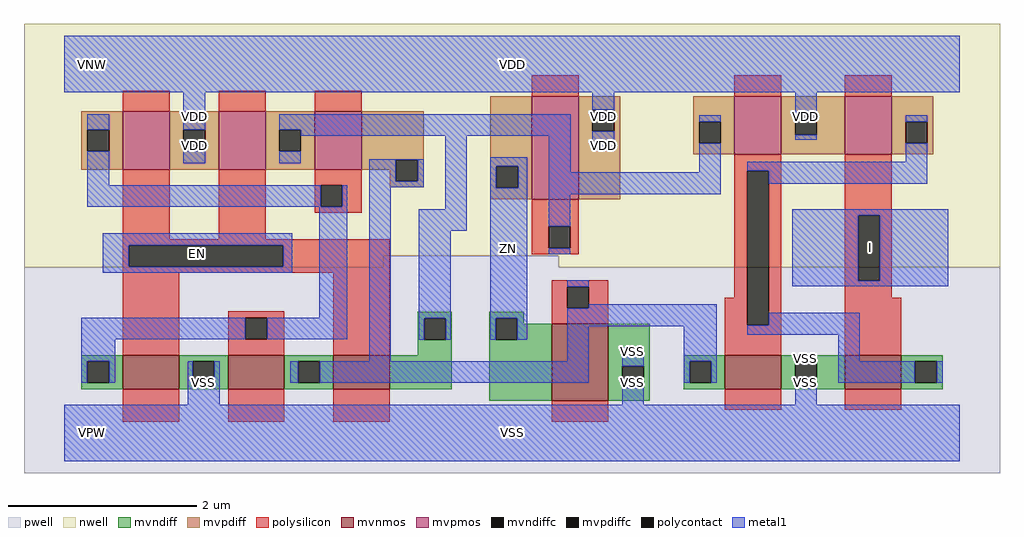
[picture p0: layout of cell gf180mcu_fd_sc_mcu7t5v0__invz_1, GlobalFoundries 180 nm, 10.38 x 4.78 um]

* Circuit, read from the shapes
.subckt gf180mcu_fd_sc_mcu7t5v0__invz_1 EN I ZN VDD VNW VPW VSS
XM1 VSS EN n1 VPW nfet_06v0 w=0.36u l=0.6u
XM2 n2 n1 VSS VPW nfet_06v0 w=0.36u l=0.6u
XM3 n3 EN n2 VPW nfet_06v0 w=0.36u l=0.6u
XM4 VSS n2 ZN VPW nfet_06v0 w=0.82u l=0.6u
XM5 VSS n4 n2 VPW nfet_06v0 w=0.36u l=0.6u
XM6 n4 I VSS VPW nfet_06v0 w=0.36u l=0.6u
XM7 VDD EN n1 VNW pfet_06v0 w=0.62u l=0.5u
XM8 n3 EN VDD VNW pfet_06v0 w=0.62u l=0.5u
XM9 n2 n1 n3 VNW pfet_06v0 w=0.62u l=0.5u
XM10 VDD n3 ZN VNW pfet_06v0 w=1.095u l=0.5u
XM11 VDD n4 n3 VNW pfet_06v0 w=0.62u l=0.5u
XM12 n4 I VDD VNW pfet_06v0 w=0.62u l=0.5u
.ends

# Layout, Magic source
magic
tech gf180mcuD
magscale 1 10
<< nwell >>
rect -86 377 1990 870
rect -86 352 678 377
rect 1051 352 1990 377
<< pwell >>
rect 678 352 1051 377
rect -86 -86 1990 352
<< mvnmos >>
rect 124 93 244 165
rect 348 93 468 165
rect 572 93 692 165
rect 1037 68 1157 232
rect 1405 93 1525 165
rect 1660 93 1780 165
<< mvpmos >>
rect 124 560 224 684
rect 328 560 428 684
rect 532 560 632 684
rect 994 497 1094 716
rect 1425 592 1525 716
rect 1660 592 1760 716
<< mvndiff >>
rect 752 244 824 257
rect 752 198 765 244
rect 811 198 824 244
rect 752 165 824 198
rect 36 152 124 165
rect 36 106 49 152
rect 95 106 124 152
rect 36 93 124 106
rect 244 152 348 165
rect 244 106 273 152
rect 319 106 348 152
rect 244 93 348 106
rect 468 152 572 165
rect 468 106 497 152
rect 543 106 572 152
rect 468 93 572 106
rect 692 93 824 165
rect 904 244 977 257
rect 904 198 917 244
rect 963 232 977 244
rect 963 198 1037 232
rect 904 68 1037 198
rect 1157 142 1245 232
rect 1157 96 1186 142
rect 1232 96 1245 142
rect 1157 68 1245 96
rect 1317 152 1405 165
rect 1317 106 1330 152
rect 1376 106 1405 152
rect 1317 93 1405 106
rect 1525 152 1660 165
rect 1525 106 1554 152
rect 1600 106 1660 152
rect 1525 93 1660 106
rect 1780 152 1868 165
rect 1780 106 1809 152
rect 1855 106 1868 152
rect 1780 93 1868 106
<< mvpdiff >>
rect 36 645 124 684
rect 36 599 49 645
rect 95 599 124 645
rect 36 560 124 599
rect 224 645 328 684
rect 224 599 253 645
rect 299 599 328 645
rect 224 560 328 599
rect 428 645 532 684
rect 428 599 457 645
rect 503 599 532 645
rect 428 560 532 599
rect 632 581 764 684
rect 632 560 705 581
rect 692 535 705 560
rect 751 535 764 581
rect 692 522 764 535
rect 906 567 994 716
rect 906 521 919 567
rect 965 521 994 567
rect 906 497 994 521
rect 1094 687 1182 716
rect 1094 641 1123 687
rect 1169 641 1182 687
rect 1094 497 1182 641
rect 1337 662 1425 716
rect 1337 616 1350 662
rect 1396 616 1425 662
rect 1337 592 1425 616
rect 1525 680 1660 716
rect 1525 634 1554 680
rect 1600 634 1660 680
rect 1525 592 1660 634
rect 1760 662 1848 716
rect 1760 616 1789 662
rect 1835 616 1848 662
rect 1760 592 1848 616
<< mvndiffc >>
rect 765 198 811 244
rect 49 106 95 152
rect 273 106 319 152
rect 497 106 543 152
rect 917 198 963 244
rect 1186 96 1232 142
rect 1330 106 1376 152
rect 1554 106 1600 152
rect 1809 106 1855 152
<< mvpdiffc >>
rect 49 599 95 645
rect 253 599 299 645
rect 457 599 503 645
rect 705 535 751 581
rect 919 521 965 567
rect 1123 641 1169 687
rect 1350 616 1396 662
rect 1554 634 1600 680
rect 1789 616 1835 662
<< polysilicon >>
rect 124 684 224 728
rect 328 684 428 728
rect 532 684 632 728
rect 994 716 1094 760
rect 1425 716 1525 760
rect 1660 716 1760 760
rect 124 412 224 560
rect 328 412 428 560
rect 532 527 632 560
rect 532 481 545 527
rect 591 481 632 527
rect 1425 557 1525 592
rect 532 468 632 481
rect 994 439 1094 497
rect 124 399 692 412
rect 124 353 137 399
rect 465 353 692 399
rect 994 393 1030 439
rect 1076 393 1094 439
rect 994 380 1094 393
rect 124 340 692 353
rect 124 165 244 340
rect 348 245 468 258
rect 348 199 385 245
rect 431 199 468 245
rect 348 165 468 199
rect 572 165 692 340
rect 1037 311 1157 324
rect 1037 265 1069 311
rect 1115 265 1157 311
rect 1425 287 1452 557
rect 1037 232 1157 265
rect 124 24 244 93
rect 348 24 468 93
rect 572 24 692 93
rect 1405 229 1452 287
rect 1498 229 1525 557
rect 1405 165 1525 229
rect 1660 463 1760 592
rect 1660 323 1688 463
rect 1734 323 1760 463
rect 1660 287 1760 323
rect 1660 165 1780 287
rect 1037 24 1157 68
rect 1405 49 1525 93
rect 1660 49 1780 93
<< polycontact >>
rect 545 481 591 527
rect 137 353 465 399
rect 1030 393 1076 439
rect 385 199 431 245
rect 1069 265 1115 311
rect 1452 229 1498 557
rect 1688 323 1734 463
<< metal1 >>
rect 0 724 1904 844
rect 49 645 95 678
rect 49 527 95 599
rect 253 645 299 724
rect 1123 687 1169 724
rect 253 573 299 599
rect 457 645 1077 678
rect 503 632 1077 645
rect 457 573 503 599
rect 648 581 764 582
rect 648 535 705 581
rect 751 535 764 581
rect 49 481 545 527
rect 591 481 602 527
rect 82 399 485 424
rect 82 353 137 399
rect 465 353 485 399
rect 82 340 485 353
rect 542 245 602 481
rect 36 199 385 245
rect 431 199 602 245
rect 648 522 764 535
rect 36 152 108 199
rect 648 152 694 522
rect 810 476 856 632
rect 754 430 856 476
rect 906 567 984 586
rect 906 521 919 567
rect 965 521 984 567
rect 754 244 822 430
rect 754 198 765 244
rect 811 198 822 244
rect 906 244 984 521
rect 1030 554 1077 632
rect 1554 680 1600 724
rect 1123 600 1169 641
rect 1350 662 1396 675
rect 1554 623 1600 634
rect 1789 662 1835 675
rect 1350 554 1396 616
rect 1789 577 1835 616
rect 1030 507 1396 554
rect 1452 557 1835 577
rect 1030 439 1076 507
rect 1030 380 1076 393
rect 906 198 917 244
rect 963 198 984 244
rect 1069 311 1115 324
rect 1115 265 1387 273
rect 1069 227 1387 265
rect 1069 152 1115 227
rect 36 106 49 152
rect 95 106 108 152
rect 262 106 273 152
rect 319 106 330 152
rect 480 106 497 152
rect 543 106 1115 152
rect 1186 142 1232 181
rect 262 60 330 106
rect 1317 152 1387 227
rect 1498 530 1835 557
rect 1548 463 1880 475
rect 1548 323 1688 463
rect 1734 323 1880 463
rect 1548 312 1880 323
rect 1498 229 1692 255
rect 1452 209 1692 229
rect 1317 106 1330 152
rect 1376 106 1387 152
rect 1554 152 1600 163
rect 1646 152 1692 209
rect 1646 106 1809 152
rect 1855 106 1868 152
rect 1186 60 1232 96
rect 1554 60 1600 106
rect 0 -60 1904 60
<< labels >>
flabel metal1 s 0 724 1904 844 0 FreeSans 400 0 0 0 VDD
port 4 nsew power bidirectional abutment
flabel metal1 s 1186 163 1232 181 0 FreeSans 400 0 0 0 VSS
port 7 nsew ground bidirectional abutment
flabel metal1 s 906 198 984 586 0 FreeSans 400 0 0 0 ZN
port 3 nsew default output
flabel metal1 s 82 340 485 424 0 FreeSans 400 0 0 0 EN
port 1 nsew default input
flabel metal1 s 1548 312 1880 475 0 FreeSans 400 0 0 0 I
port 2 nsew default input
flabel nwell s 10 734 110 834 0 FreeSans 400 0 0 0 VNW
port 5 nsew power bidirectional
flabel pwell s 10 -50 110 50 0 FreeSans 400 0 0 0 VPW
port 6 nsew ground bidirectional
rlabel metal1 s 1554 623 1600 724 1 VDD
port 4 nsew power bidirectional abutment
rlabel metal1 s 1123 623 1169 724 1 VDD
port 4 nsew power bidirectional abutment
rlabel metal1 s 253 623 299 724 1 VDD
port 4 nsew power bidirectional abutment
rlabel metal1 s 1123 600 1169 623 1 VDD
port 4 nsew power bidirectional abutment
rlabel metal1 s 253 600 299 623 1 VDD
port 4 nsew power bidirectional abutment
rlabel metal1 s 253 573 299 600 1 VDD
port 4 nsew power bidirectional abutment
rlabel metal1 s 1554 152 1600 163 1 VSS
port 7 nsew ground bidirectional abutment
rlabel metal1 s 1186 152 1232 163 1 VSS
port 7 nsew ground bidirectional abutment
rlabel metal1 s 1554 60 1600 152 1 VSS
port 7 nsew ground bidirectional abutment
rlabel metal1 s 1186 60 1232 152 1 VSS
port 7 nsew ground bidirectional abutment
rlabel metal1 s 262 60 330 152 1 VSS
port 7 nsew ground bidirectional abutment
rlabel metal1 s 0 -60 1904 60 1 VSS
port 7 nsew ground bidirectional abutment
<< properties >>
string FIXED_BBOX 0 0 1904 784
string GDS_END 522130
string GDS_FILE $PDKPATH/libs.ref/gf180mcu_fd_sc_mcu7t5v0/gds/gf180mcu_fd_sc_mcu7t5v0.gds
string GDS_START 516576
string LEFclass core
string LEFsite GF018hv5v_mcu_sc7
string LEFsymmetry X Y
<< end >>
